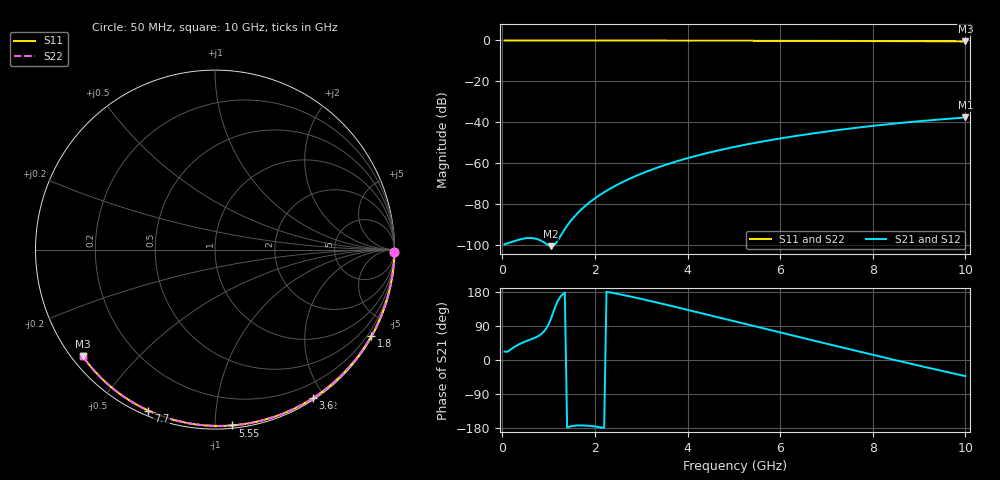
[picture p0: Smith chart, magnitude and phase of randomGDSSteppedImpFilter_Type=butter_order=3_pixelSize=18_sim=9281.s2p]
! freq	dB(S11)	phase(S11)	dB(S12)	phase(S12)
!  dB(S21)	phase(S21)	dB(S22)	phase(S22)
!S-par simulation data
#  GHz  S  DB  R 50
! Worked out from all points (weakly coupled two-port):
!   200 points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, 50 MHz to 10 GHz, reference 50 ohm
!   highest |S21| = -37.66 dB at 10 GHz (marker M1); lowest = -100.6 dB at 1.05 GHz (marker M2)
!   lowest |S11| = -0.5 dB at 10 GHz (marker M3), VSWR 36.50, Z = 1.54 - j17.6 ohm
!   |S11| at or under -10 dB: nowhere
!   |S22| runs from -0.5 to 0.0 dB; largest |S21 - S12| = 0
!   S11 on the Smith chart (normalised r, x): 50 MHz: open; 1.8 GHz: 0.03, -3.87; 3.6 GHz: 0.02, -1.86; 5.55 GHz: 0.02, -1.10; 7.7 GHz: 0.02, -0.67; 10 GHz: 0.03, -0.35
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0.05  -0.00 -0.8  -99.65 22.3  -99.65 22.3  -0.00 -0.8
0.55  -0.01 -9.0  -96.60 51.3  -96.60 51.3  -0.01 -9.0
1.05  -0.02 -17.0  -100.56 108.8  -100.56 108.8  -0.02 -17.0
1.75  -0.04 -28.2  -81.71 -172.7  -81.71 -172.7  -0.04 -28.2
1.8  -0.04 -29.0  -80.72 -173.0  -80.72 -173.0  -0.04 -29.0
1.85  -0.04 -29.8  -79.78 -173.4  -79.78 -173.4  -0.04 -29.8
2  -0.04 -32.1  -77.19 -175.4  -77.19 -175.4  -0.04 -32.1
2.15  -0.04 -34.5  -74.90 -178.0  -74.90 -178.0  -0.04 -34.5
2.35  -0.05 -37.6  -72.18 177.8  -72.18 177.8  -0.05 -37.6
2.55  -0.05 -40.7  -69.75 173.1  -69.75 173.1  -0.05 -40.7
2.95  -0.06 -46.8  -65.61 162.6  -65.61 162.6  -0.06 -46.8
3.4  -0.07 -53.6  -61.76 150.0  -61.76 150.0  -0.07 -53.6
3.6  -0.08 -56.6  -60.25 144.2  -60.25 144.2  -0.08 -56.6
4.3  -0.09 -66.8  -55.74 123.4  -55.74 123.4  -0.09 -66.8
5.05  -0.12 -77.4  -51.86 100.9  -51.86 100.9  -0.12 -77.4
5.55  -0.14 -84.3  -49.67 86.0  -49.67 86.0  -0.14 -84.3
6.1  -0.16 -91.8  -47.54 69.6  -47.54 69.6  -0.16 -91.8
6.7  -0.19 -99.7  -45.48 51.9  -45.48 51.9  -0.19 -99.7
7.7  -0.26 -112.5  -42.53 22.5  -42.53 22.5  -0.26 -112.5
8.35  -0.31 -120.7  -40.91 3.6  -40.91 3.6  -0.31 -120.7
9.2  -0.39 -131.3  -39.10 -20.6  -39.10 -20.6  -0.39 -131.3
10  -0.48 -141.2  -37.66 -42.5  -37.66 -42.5  -0.48 -141.2
